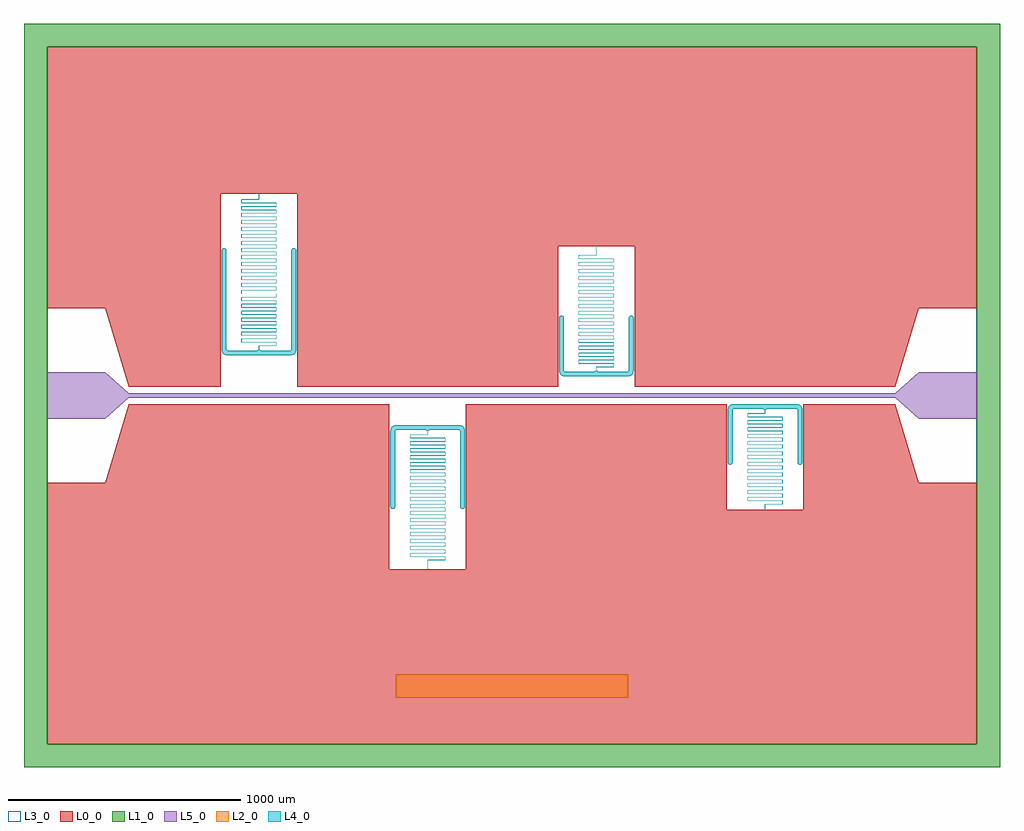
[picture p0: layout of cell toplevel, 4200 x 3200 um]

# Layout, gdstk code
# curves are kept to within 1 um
import gdstk
lib = gdstk.Library(unit=1e-6, precision=1e-09)
def R(c, l, rs):  # rectangles x0, y0, x1, y1
    for r in rs: c.add(gdstk.rectangle(r[:2], r[2:], *l))
def P(c, l, *ps):  # polygons
    for p in ps: c.add(gdstk.Polygon(p, *l))
L0_0 = (0, 0)
L1_0 = (1, 0)
L2_0 = (2, 0)
L3_0 = (3, 0)
L4_0 = (4, 0)
L5_0 = (5, 0)

toplevel = lib.new_cell('toplevel')
P(toplevel, L0_0, [(-924,868.5),(-924,37.5),(198,37.5),(198,642.833),(528,642.833),(528,37.5),(1650,37.5),(1750,375),(2000,375),(2000,1500),(-2000,1500),(-2000,375),(-1750,375),(-1650,37.5),(-1254,37.5),(-1254,868.5)],
  [(2000,-1500),(2000,-375),(1750,-375),(1650,-37.5),(1254,-37.5),(1254,-492.5),(924,-492.5),(924,-37.5),(-198,-37.5),(-198,-748.167),(-528,-748.167),(-528,-37.5),(-1650,-37.5),(-1750,-375),(-2000,-375),(-2000,-1500)])
P(toplevel, L1_0, [(2100,1600),(-2100,1600),(-2100,-1500),(-2000,-1500),(-2000,1500),(2000,1500),(2000,-1500),(-2000,-1500),(-2100,-1500),(-2100,-1600),(2100,-1600)])
R(toplevel, L2_0, [(-500,-1300,500,-1200)])
R(toplevel, L3_0, [(-2000,-1500,2000,1500)])
P(toplevel, L4_0, [(-957.256,173.5),(-946.018,174.652),(-937.664,178.765),(-931.925,185.852),(-929.25,195.469),(-929,438.861),(-949,438.861),(-949.028,199.36),(-950.06,194.461),(-956.931,193.5),(-1079,193.5),(-1088.7,198.5),(-1088.291,213.175),(-1014.361,213.305),(-1013.703,214.388),(-1013.702,227.589),(-1014.584,228.762),(-1163.666,229.171),(-1163.696,242.609),(-1163.132,243.195),(-1013.928,243.636),(-1013.704,257.63),(-1014.73,258.785),(-1162.888,258.8),(-1163.7,259.606),(-1163.176,273.191),(-1013.961,273.594),(-1013.707,287.683),(-1014.755,288.787),(-1162.94,288.8),(-1163.7,289.591),(-1163.184,303.19),(-1014.035,303.513),(-1013.707,317.683),(-1014.755,318.787),(-1162.94,318.8),(-1163.7,319.591),(-1163.184,333.19),(-1014.118,333.442),(-1013.707,347.683),(-1014.755,348.787),(-1162.935,348.8),(-1163.7,349.591),(-1163.184,363.19),(-1014.211,363.379),(-1013.702,377.56),(-1014.755,378.787),(-1162.935,378.8),(-1163.699,379.48),(-1163.184,393.19),(-1014.407,393.287),(-1013.706,394.346),(-1013.702,407.56),(-1014.755,408.787),(-1162.935,408.8),(-1163.699,409.476),(-1163.184,423.19),(-1014.571,423.241),(-1013.706,424.34),(-1013.702,437.56),(-1015.111,438.8),(-1164.195,438.861),(-1162.964,438.2),(-1014.428,438.03),(-1014.798,423.812),(-1162.888,423.8),(-1163.959,423.492),(-1164.3,422.404),(-1164.287,409.249),(-1163.251,408.213),(-1014.458,408.061),(-1014.798,393.812),(-1162.888,393.8),(-1163.959,393.492),(-1164.3,392.404),(-1164.295,379.352),(-1163.251,378.213),(-1014.535,378.115),(-1014.798,363.812),(-1162.888,363.8),(-1163.959,363.492),(-1164.3,362.404),(-1164.289,349.274),(-1163.251,348.213),(-1014.686,348.17),(-1014.605,333.854),(-1163.245,333.787),(-1164.292,332.683),(-1164.3,319.59),(-1162.97,318.2),(-1014.815,318.19),(-1014.466,303.932),(-1163.245,303.787),(-1164.292,302.683),(-1164.3,289.59),(-1162.97,288.2),(-1014.815,288.19),(-1014.433,273.964),(-1163.251,273.787),(-1164.294,272.666),(-1164.3,259.596),(-1163.987,258.535),(-1162.888,258.2),(-1014.85,258.193),(-1014.303,257.595),(-1014.3,244.612),(-1015.112,243.8),(-1163.238,243.788),(-1164.294,242.653),(-1164.3,229.611),(-1163.982,228.53),(-1162.888,228.2),(-1014.811,228.19),(-1014.45,213.946),(-1088.481,213.746),(-1089.296,212.612),(-1089.3,198.5),(-1099,193.5),(-1221.878,193.504),(-1227.976,194.489),(-1228.998,200.94),(-1229,438.861),(-1249,438.861),(-1248.965,198.829),(-1246.945,187.792),(-1244.619,183.373),(-1241.507,179.761),(-1233.471,175.103),(-1223.255,173.524)],
  [(-1163.433,438.869),(-1163.631,439.067),(-1163.699,439.471),(-1163.698,452.567),(-1163.572,453.03),(-1163.184,453.19),(-1015.036,453.2),(-1014.526,453.252),(-1014.142,453.424),(-1013.875,453.718),(-1013.73,454.129),(-1013.707,467.677),(-1013.797,468.119),(-1014.007,468.459),(-1014.328,468.681),(-1014.755,468.787),(-1162.935,468.8),(-1163.476,468.891),(-1163.678,469.229),(-1163.698,482.567),(-1163.572,483.03),(-1163.184,483.19),(-1015.036,483.2),(-1014.532,483.25),(-1014.148,483.42),(-1013.883,483.705),(-1013.733,484.11),(-1013.707,497.677),(-1013.797,498.119),(-1014.007,498.459),(-1014.328,498.681),(-1014.755,498.787),(-1162.935,498.8),(-1163.471,498.888),(-1163.675,499.213),(-1163.698,512.567),(-1163.572,513.03),(-1163.184,513.19),(-1015.036,513.2),(-1014.532,513.25),(-1014.155,513.415),(-1013.887,513.699),(-1013.737,514.091),(-1013.707,527.678),(-1013.797,528.119),(-1014.007,528.459),(-1014.328,528.681),(-1014.755,528.787),(-1162.935,528.8),(-1163.468,528.887),(-1163.673,529.202),(-1163.698,542.567),(-1163.572,543.03),(-1163.18,543.191),(-1015.041,543.2),(-1014.545,543.247),(-1014.167,543.407),(-1013.898,543.68),(-1013.743,544.065),(-1013.707,557.678),(-1013.797,558.119),(-1014.007,558.459),(-1014.328,558.681),(-1014.755,558.787),(-1162.93,558.8),(-1163.46,558.882),(-1163.67,559.186),(-1163.698,572.567),(-1163.572,573.03),(-1163.18,573.191),(-1015.041,573.2),(-1014.552,573.245),(-1014.18,573.398),(-1013.907,573.667),(-1013.749,574.039),(-1013.707,587.678),(-1013.797,588.119),(-1014.007,588.459),(-1014.328,588.681),(-1014.755,588.787),(-1162.93,588.8),(-1163.454,588.879),(-1163.665,589.168),(-1163.698,602.567),(-1163.572,603.03),(-1163.18,603.191),(-1015.041,603.2),(-1014.558,603.244),(-1014.192,603.39),(-1013.92,603.648),(-1013.757,604.006),(-1013.707,617.672),(-1013.795,618.112),(-1014.002,618.453),(-1014.328,618.681),(-1014.755,618.787),(-1162.93,618.8),(-1163.445,618.875),(-1163.66,619.15),(-1163.698,632.563),(-1163.572,633.03),(-1163.18,633.191),(-1015.041,633.2),(-1014.205,633.383),(-1013.937,633.624),(-1013.768,633.967),(-1013.7,634.547),(-1013.707,647.672),(-1013.795,648.112),(-1014.002,648.453),(-1014.328,648.681),(-1014.755,648.787),(-1162.93,648.8),(-1163.436,648.871),(-1163.654,649.129),(-1163.698,662.563),(-1163.572,663.03),(-1163.18,663.191),(-1015.047,663.2),(-1014.231,663.368),(-1013.961,663.593),(-1013.783,663.921),(-1013.7,664.541),(-1013.707,677.672),(-1013.795,678.112),(-1014.002,678.453),(-1014.328,678.681),(-1014.755,678.787),(-1162.925,678.8),(-1163.421,678.864),(-1163.645,679.102),(-1163.698,692.563),(-1163.572,693.03),(-1163.18,693.191),(-1015.047,693.2),(-1014.25,693.357),(-1013.981,693.57),(-1013.802,693.868),(-1013.7,694.53),(-1013.706,707.665),(-1013.795,708.112),(-1014.002,708.453),(-1014.328,708.681),(-1014.755,708.787),(-1162.925,708.8),(-1163.405,708.858),(-1163.633,709.073),(-1163.7,709.55),(-1163.698,722.558),(-1163.574,723.028),(-1163.18,723.191),(-1015.052,723.2),(-1014.283,723.34),(-1013.831,723.802),(-1013.7,724.519),(-1013.706,737.659),(-1013.795,738.112),(-1014.002,738.453),(-1014.328,738.681),(-1014.755,738.787),(-1162.92,738.8),(-1163.385,738.85),(-1163.618,739.04),(-1163.7,739.54),(-1163.698,752.558),(-1163.574,753.028),(-1163.18,753.191),(-1015.058,753.2),(-1014.328,753.319),(-1013.871,753.724),(-1013.7,754.503),(-1013.706,767.653),(-1013.792,768.106),(-1014.002,768.453),(-1014.328,768.681),(-1014.755,768.787),(-1162.92,768.8),(-1163.361,768.843),(-1163.596,769.003),(-1163.7,769.53),(-1163.698,782.553),(-1163.574,783.028),(-1163.18,783.191),(-1015.063,783.2),(-1014.388,783.295),(-1013.937,783.624),(-1013.76,783.993),(-1013.701,784.48),(-1013.705,797.642),(-1013.79,798.099),(-1013.997,798.448),(-1014.322,798.678),(-1014.749,798.787),(-1162.914,798.8),(-1163.328,798.834),(-1163.565,798.962),(-1163.7,799.52),(-1163.699,812.544),(-1163.575,813.025),(-1163.18,813.191),(-1015.074,813.2),(-1014.473,813.266),(-1014.047,813.502),(-1013.79,813.901),(-1013.701,814.452),(-1013.704,827.618),(-1013.785,828.086),(-1013.991,828.442),(-1014.315,828.675),(-1014.749,828.787),(-1162.909,828.8),(-1163.514,828.916),(-1163.654,829.129),(-1163.699,829.5),(-1163.699,842.505),(-1163.602,842.987),(-1163.287,843.175),(-1090.069,843.2),(-1089.257,843.354),(-1088.843,843.776),(-1088.701,844.457),(-1088.7,868.5),(-1089.3,868.5),(-1089.3,844.52),(-1089.355,844.102),(-1089.535,843.885),(-1090.08,843.8),(-1163.416,843.761),(-1163.795,843.617),(-1164.067,843.37),(-1164.236,843.02),(-1164.298,842.571),(-1164.298,829.429),(-1164.184,828.835),(-1163.864,828.428),(-1163.461,828.249),(-1162.92,828.2),(-1014.82,828.191),(-1014.425,828.025),(-1014.301,827.539),(-1014.3,814.51),(-1014.456,813.941),(-1015.091,813.8),(-1163.251,813.787),(-1163.685,813.675),(-1164.008,813.442),(-1164.213,813.092),(-1164.296,812.63),(-1164.299,799.463),(-1164.226,798.947),(-1164.014,798.564),(-1163.573,798.281),(-1162.931,798.2),(-1014.82,798.191),(-1014.425,798.025),(-1014.302,797.548),(-1014.3,784.525),(-1014.418,783.984),(-1014.653,783.839),(-1015.086,783.8),(-1163.245,783.787),(-1163.678,783.678),(-1164.003,783.448),(-1164.21,783.099),(-1164.295,782.648),(-1164.299,769.491),(-1164.25,769.032),(-1164.097,768.673),(-1163.645,768.308),(-1162.937,768.2),(-1014.82,768.191),(-1014.426,768.028),(-1014.302,767.553),(-1014.3,754.54),(-1014.391,754.024),(-1014.625,753.847),(-1015.08,753.8),(-1163.245,753.787),(-1163.671,753.681),(-1163.998,753.453),(-1164.205,753.112),(-1164.294,752.659),(-1164.3,739.508),(-1164.15,738.763),(-1163.698,738.331),(-1162.948,738.2),(-1014.82,738.191),(-1014.426,738.028),(-1014.302,737.558),(-1014.3,724.545),(-1014.373,724.058),(-1014.602,723.855),(-1015.075,723.8),(-1163.245,723.787),(-1163.671,723.681),(-1163.998,723.453),(-1164.205,723.112),(-1164.294,722.665),(-1164.3,709.525),(-1164.184,708.835),(-1163.73,708.347),(-1162.948,708.2),(-1014.82,708.191),(-1014.426,708.028),(-1014.302,707.558),(-1014.36,694.089),(-1014.586,693.861),(-1015.075,693.8),(-1163.245,693.787),(-1163.671,693.681),(-1163.998,693.453),(-1164.205,693.112),(-1164.294,692.665),(-1164.3,679.536),(-1164.208,678.894),(-1164.029,678.582),(-1163.763,678.364),(-1162.953,678.2),(-1014.82,678.191),(-1014.428,678.03),(-1014.302,677.563),(-1014.35,664.115),(-1014.573,663.867),(-1015.075,663.8),(-1163.245,663.787),(-1163.671,663.681),(-1163.998,663.453),(-1164.205,663.112),(-1164.293,662.672),(-1164.3,649.547),(-1164.226,648.947),(-1164.053,648.612),(-1163.782,648.375),(-1162.953,648.2),(-1014.82,648.191),(-1014.428,648.03),(-1014.302,647.563),(-1014.343,634.139),(-1014.561,633.872),(-1015.07,633.8),(-1163.245,633.787),(-1163.671,633.681),(-1163.998,633.453),(-1164.205,633.112),(-1164.293,632.672),(-1164.238,618.987),(-1164.071,618.636),(-1163.801,618.387),(-1163.435,618.243),(-1162.959,618.2),(-1014.82,618.191),(-1014.428,618.03),(-1014.302,617.563),(-1014.337,604.16),(-1014.549,603.878),(-1015.07,603.8),(-1163.245,603.787),(-1163.671,603.681),(-1163.992,603.459),(-1164.203,603.119),(-1164.293,602.677),(-1164.246,589.019),(-1164.085,588.655),(-1163.814,588.394),(-1163.441,588.244),(-1162.959,588.2),(-1014.82,588.191),(-1014.428,588.03),(-1014.302,587.567),(-1014.332,574.179),(-1014.543,573.881),(-1015.07,573.8),(-1163.245,573.787),(-1163.671,573.681),(-1163.992,573.459),(-1164.203,573.119),(-1164.293,572.678),(-1164.254,559.052),(-1164.097,558.673),(-1163.827,558.403),(-1163.454,558.247),(-1162.959,558.2),(-1014.82,558.191),(-1014.428,558.03),(-1014.302,557.567),(-1014.329,544.194),(-1014.535,543.885),(-1015.065,543.8),(-1163.245,543.787),(-1163.671,543.681),(-1163.992,543.459),(-1164.203,543.119),(-1164.293,542.678),(-1164.26,529.078),(-1164.105,528.686),(-1163.839,528.411),(-1163.461,528.249),(-1162.964,528.2),(-1014.815,528.19),(-1014.428,528.03),(-1014.302,527.567),(-1014.325,514.209),(-1014.529,513.888),(-1015.065,513.8),(-1163.245,513.787),(-1163.671,513.681),(-1163.992,513.459),(-1164.203,513.119),(-1164.293,512.677),(-1164.264,499.097),(-1164.113,498.699),(-1163.845,498.415),(-1163.468,498.25),(-1162.964,498.2),(-1014.815,498.19),(-1014.428,498.03),(-1014.302,497.567),(-1014.323,484.221),(-1014.526,483.89),(-1015.065,483.8),(-1163.245,483.787),(-1163.671,483.681),(-1163.992,483.459),(-1164.203,483.119),(-1164.293,482.677),(-1164.269,469.123),(-1164.121,468.711),(-1163.852,468.42),(-1163.468,468.25),(-1162.964,468.2),(-1014.815,468.19),(-1014.428,468.03),(-1014.302,467.567),(-1014.321,454.233),(-1014.521,453.893),(-1015.065,453.8),(-1163.245,453.787),(-1163.717,453.66),(-1164.058,453.382),(-1164.25,452.968),(-1164.3,452.404),(-1164.294,439.334),(-1164.195,438.861)],
  [(-1229,623.5),(-1231.627,630.256),(-1238.564,633.49),(-1245.756,630.873),(-1248.962,624.372),(-1249,438.861),(-1229,438.861)],
  [(-929,623.5),(-931.627,630.256),(-938.564,633.49),(-945.756,630.873),(-948.962,624.372),(-949,438.861),(-929,438.861)],
  [(-512.564,-488.157),(-505.929,-485.238),(-503.038,-479.038),(-503,-348.778),(-523,-348.778),(-522.962,-479.038),(-519.428,-485.827)],
  [(-362.7,-709.216),(-362.561,-708.624),(-362.044,-708.468),(-288.584,-708.428),(-288.211,-708.288),(-287.937,-708.043),(-287.768,-707.7),(-287.702,-707.255),(-287.705,-694.031),(-287.898,-693.346),(-288.348,-692.977),(-289.074,-692.867),(-437.18,-692.857),(-437.575,-692.692),(-437.699,-692.21),(-437.7,-679.186),(-437.648,-678.778),(-437.494,-678.569),(-436.914,-678.467),(-288.749,-678.453),(-288.322,-678.345),(-287.997,-678.114),(-287.79,-677.766),(-287.705,-677.308),(-287.701,-664.147),(-287.792,-663.561),(-288.082,-663.138),(-288.532,-662.917),(-289.063,-662.867),(-437.18,-662.857),(-437.574,-662.694),(-437.698,-662.22),(-437.7,-649.196),(-437.554,-648.617),(-437.321,-648.499),(-436.92,-648.467),(-288.755,-648.454),(-288.328,-648.348),(-288.002,-648.12),(-287.792,-647.772),(-287.706,-647.32),(-287.7,-634.169),(-287.766,-633.64),(-287.961,-633.26),(-288.401,-632.956),(-289.058,-632.867),(-437.18,-632.857),(-437.574,-632.694),(-437.698,-632.225),(-437.7,-619.206),(-437.599,-618.675),(-437.343,-618.504),(-436.92,-618.467),(-288.755,-618.454),(-288.328,-618.348),(-288.002,-618.12),(-287.795,-617.779),(-287.706,-617.326),(-287.7,-604.186),(-287.871,-603.391),(-288.361,-602.972),(-289.052,-602.867),(-437.18,-602.857),(-437.574,-602.694),(-437.698,-602.225),(-437.7,-589.216),(-437.615,-588.701),(-437.361,-588.509),(-436.925,-588.467),(-288.755,-588.454),(-288.328,-588.348),(-288.002,-588.12),(-287.795,-587.779),(-287.706,-587.332),(-287.7,-574.197),(-287.837,-573.456),(-288.041,-573.174),(-288.328,-572.985),(-289.047,-572.867),(-437.18,-572.857),(-437.572,-572.696),(-437.698,-572.229),(-437.7,-559.221),(-437.626,-558.725),(-437.378,-558.515),(-436.925,-558.467),(-288.755,-558.454),(-288.328,-558.348),(-288.002,-558.12),(-287.795,-557.779),(-287.707,-557.338),(-287.7,-544.208),(-287.819,-543.495),(-288.018,-543.196),(-288.309,-542.994),(-289.047,-542.867),(-437.18,-542.857),(-437.572,-542.696),(-437.698,-542.229),(-437.7,-529.227),(-437.637,-528.749),(-437.392,-528.519),(-436.93,-528.467),(-288.755,-528.454),(-288.328,-528.348),(-288.002,-528.12),(-287.795,-527.779),(-287.707,-527.338),(-287.7,-514.214),(-287.8,-513.541),(-287.966,-513.254),(-288.244,-513.027),(-289.041,-512.867),(-437.18,-512.857),(-437.572,-512.696),(-437.698,-512.229),(-437.645,-498.768),(-437.398,-498.522),(-436.93,-498.467),(-288.755,-498.454),(-288.328,-498.348),(-288.002,-498.12),(-287.795,-497.779),(-287.707,-497.338),(-287.7,-484.224),(-287.772,-483.62),(-287.947,-483.278),(-288.192,-483.057),(-288.558,-482.911),(-289.041,-482.867),(-437.18,-482.857),(-437.572,-482.696),(-437.698,-482.234),(-437.665,-468.834),(-437.454,-468.546),(-436.93,-468.467),(-288.755,-468.454),(-288.328,-468.348),(-288.007,-468.126),(-287.797,-467.785),(-287.707,-467.344),(-287.7,-454.23),(-287.776,-453.607),(-287.937,-453.29),(-288.218,-453.042),(-289.041,-452.867),(-437.18,-452.857),(-437.572,-452.696),(-437.698,-452.234),(-437.67,-438.853),(-437.46,-438.549),(-436.93,-438.467),(-288.755,-438.454),(-288.328,-438.348),(-288.007,-438.126),(-287.797,-437.785),(-287.707,-437.344),(-287.755,-423.679),(-287.928,-423.303),(-288.205,-423.049),(-289.041,-422.867),(-437.18,-422.857),(-437.572,-422.696),(-437.698,-422.234),(-437.673,-408.868),(-437.468,-408.553),(-436.935,-408.467),(-288.755,-408.454),(-288.328,-408.348),(-288.007,-408.126),(-287.797,-407.785),(-287.707,-407.344),(-287.75,-393.699),(-287.915,-393.321),(-288.192,-393.057),(-288.584,-392.905),(-289.036,-392.867),(-437.184,-392.857),(-437.572,-392.696),(-437.698,-392.234),(-437.675,-378.88),(-437.471,-378.555),(-436.935,-378.467),(-288.755,-378.454),(-288.328,-378.348),(-288.007,-378.126),(-287.797,-377.785),(-287.707,-377.344),(-287.745,-363.719),(-287.911,-363.328),(-288.148,-363.086),(-288.532,-362.917),(-289.036,-362.867),(-437.184,-362.857),(-437.572,-362.696),(-437.698,-362.234),(-437.648,-348.778),(-438.267,-348.778),(-438.293,-362.344),(-438.203,-362.786),(-437.992,-363.126),(-437.671,-363.348),(-437.245,-363.454),(-289.065,-363.467),(-288.526,-363.556),(-288.323,-363.888),(-288.302,-377.234),(-288.428,-377.696),(-288.815,-377.857),(-436.964,-377.867),(-437.468,-377.917),(-437.845,-378.082),(-438.113,-378.365),(-438.264,-378.764),(-438.293,-392.344),(-438.203,-392.785),(-437.992,-393.126),(-437.671,-393.348),(-437.245,-393.454),(-289.065,-393.467),(-288.529,-393.555),(-288.325,-393.876),(-288.302,-407.234),(-288.428,-407.696),(-288.815,-407.857),(-436.964,-407.867),(-437.461,-407.915),(-437.839,-408.078),(-438.105,-408.353),(-438.26,-408.745),(-438.293,-422.344),(-438.203,-422.785),(-437.992,-423.126),(-437.671,-423.348),(-437.245,-423.454),(-289.065,-423.467),(-288.535,-423.552),(-288.329,-423.861),(-288.302,-437.234),(-288.428,-437.696),(-288.82,-437.857),(-436.959,-437.867),(-437.454,-437.914),(-437.827,-438.069),(-438.097,-438.34),(-438.241,-438.666),(-438.293,-452.344),(-438.203,-452.785),(-437.992,-453.126),(-437.671,-453.348),(-437.245,-453.454),(-289.07,-453.467),(-288.543,-453.547),(-288.347,-453.792),(-288.302,-467.234),(-288.428,-467.696),(-288.82,-467.857),(-436.959,-467.867),(-437.776,-468.038),(-438.058,-468.284),(-438.232,-468.634),(-438.3,-469.224),(-438.293,-482.344),(-438.203,-482.785),(-437.992,-483.126),(-437.671,-483.348),(-437.245,-483.454),(-289.07,-483.467),(-288.595,-483.524),(-288.353,-483.775),(-288.302,-497.229),(-288.428,-497.696),(-288.82,-497.857),(-436.959,-497.867),(-437.763,-498.031),(-438.044,-498.266),(-438.208,-498.561),(-438.3,-499.219),(-438.293,-512.338),(-438.205,-512.779),(-437.998,-513.12),(-437.671,-513.348),(-437.245,-513.454),(-289.07,-513.467),(-288.561,-513.539),(-288.359,-513.759),(-288.302,-527.229),(-288.428,-527.696),(-288.82,-527.857),(-436.953,-527.867),(-437.743,-528.02),(-438.024,-528.242),(-438.21,-528.568),(-438.3,-529.214),(-438.293,-542.338),(-438.205,-542.779),(-437.998,-543.12),(-437.671,-543.348),(-437.245,-543.454),(-289.075,-543.467),(-288.573,-543.533),(-288.368,-543.737),(-288.3,-544.227),(-288.302,-557.229),(-288.428,-557.696),(-288.82,-557.857),(-436.953,-557.867),(-437.685,-557.991),(-437.97,-558.185),(-438.172,-558.476),(-438.3,-559.203),(-438.294,-572.332),(-438.205,-572.779),(-437.998,-573.12),(-437.671,-573.348),(-437.245,-573.454),(-289.075,-573.467),(-288.586,-573.528),(-288.378,-573.716),(-288.3,-574.221),(-288.302,-587.225),(-288.426,-587.694),(-288.82,-587.857),(-436.948,-587.867),(-437.73,-588.013),(-438.146,-588.423),(-438.3,-589.192),(-438.294,-602.332),(-438.205,-602.779),(-437.998,-603.12),(-437.671,-603.348),(-437.245,-603.454),(-289.075,-603.467),(-288.643,-603.508),(-288.393,-603.688),(-288.3,-604.211),(-288.302,-617.225),(-288.426,-617.694),(-288.82,-617.857),(-436.948,-617.867),(-437.619,-617.964),(-438.062,-618.29),(-438.243,-618.673),(-438.3,-619.175),(-438.294,-632.326),(-438.205,-632.779),(-437.998,-633.12),(-437.671,-633.348),(-437.245,-633.454),(-289.08,-633.467),(-288.668,-633.501),(-288.433,-633.631),(-288.3,-634.206),(-288.302,-647.22),(-288.426,-647.694),(-288.82,-647.857),(-436.937,-647.867),(-437.494,-647.923),(-437.959,-648.174),(-438.222,-648.601),(-438.299,-649.158),(-438.295,-662.314),(-438.21,-662.766),(-438.003,-663.114),(-437.678,-663.345),(-437.245,-663.454),(-289.086,-663.467),(-288.486,-663.582),(-288.344,-663.802),(-288.3,-664.191),(-288.302,-677.215),(-288.425,-677.692),(-288.82,-677.857),(-436.931,-677.867),(-437.435,-677.909),(-437.82,-678.065),(-438.184,-678.502),(-438.299,-679.13),(-438.296,-692.296),(-438.213,-692.759),(-438.008,-693.109),(-437.685,-693.342),(-437.251,-693.453),(-288.589,-693.527),(-288.372,-693.727),(-288.3,-694.176),(-288.301,-707.181),(-288.399,-707.656),(-288.713,-707.842),(-361.942,-707.867),(-362.474,-707.918),(-362.864,-708.095),(-363.195,-708.528),(-363.3,-709.175),(-363.3,-748.167),(-362.7,-748.167)],
  [(-212.564,-488.157),(-205.929,-485.238),(-203.038,-479.038),(-203,-348.778),(-223,-348.778),(-222.962,-479.038),(-219.428,-485.827)],
  [(-203,-156.513),(-204.152,-145.185),(-208.37,-136.698),(-215.768,-130.887),(-225.791,-128.34),(-496.447,-128.176),(-505.052,-129.083),(-512.17,-131.933),(-516.621,-135.532),(-519.933,-140.241),(-522.02,-145.85),(-522.928,-152.533),(-523,-348.778),(-503,-348.778),(-502.962,-153.75),(-501.918,-149.111),(-495.152,-148.167),(-373,-148.167),(-363.3,-153.167),(-363.709,-167.841),(-437.639,-167.972),(-438.296,-169.055),(-438.297,-182.255),(-437.307,-183.447),(-288.334,-183.838),(-288.786,-197.854),(-436.888,-197.867),(-438.3,-199.273),(-438.291,-212.368),(-437.202,-213.458),(-288.456,-213.607),(-288.837,-227.859),(-436.888,-227.867),(-438.3,-229.268),(-438.294,-242.32),(-437.245,-243.454),(-288.532,-243.553),(-288.815,-257.857),(-436.888,-257.867),(-438.3,-259.267),(-438.296,-272.29),(-437.269,-273.451),(-288.694,-273.495),(-288.595,-287.809),(-437.269,-287.882),(-438.294,-289.007),(-438.3,-302.071),(-436.888,-303.467),(-288.798,-303.478),(-288.493,-317.756),(-437.245,-317.879),(-438.294,-319.001),(-438.3,-332.071),(-436.888,-333.467),(-288.803,-333.478),(-288.428,-347.696),(-436.964,-347.867),(-438.267,-348.778),(-289.111,-348.467),(-287.7,-347.071),(-287.707,-333.995),(-288.755,-332.879),(-437.572,-332.696),(-437.197,-318.478),(-289.111,-318.467),(-287.7,-317.071),(-287.706,-304.007),(-288.749,-302.88),(-437.542,-302.728),(-437.202,-288.478),(-288.997,-288.466),(-287.7,-287.045),(-287.708,-273.977),(-288.762,-272.879),(-437.457,-272.786),(-437.18,-258.476),(-289.058,-258.467),(-287.7,-257.17),(-287.705,-244.019),(-288.755,-242.879),(-437.267,-242.846),(-437.421,-228.531),(-288.78,-228.456),(-287.707,-227.344),(-287.7,-214.273),(-289.111,-212.867),(-437.15,-212.86),(-437.509,-198.579),(-288.762,-198.454),(-287.706,-197.32),(-287.7,-184.278),(-289.111,-182.867),(-437.189,-182.856),(-437.55,-168.613),(-363.519,-168.413),(-362.704,-167.279),(-362.7,-153.167),(-353,-148.167),(-230.36,-148.169),(-224.108,-149.093),(-223.001,-155.768),(-223,-348.778),(-203,-348.778)],
  [(494.744,82.833),(505.449,83.846),(513.803,87.692),(519.634,94.353),(522.568,103.343),(523,273.55),(503,273.55),(502.944,108.017),(501.862,103.74),(494.901,102.833),(373,102.833),(363.3,107.833),(363.709,122.508),(437.639,122.638),(438.296,123.721),(438.3,136.727),(437.416,138.095),(288.35,138.448),(288.786,152.52),(436.888,152.533),(438.3,153.94),(438.291,167.035),(437.276,168.117),(288.491,168.246),(288.837,182.526),(436.888,182.533),(438.3,183.934),(438.294,196.987),(437.245,198.121),(288.579,198.197),(288.717,212.509),(437.245,212.546),(438.294,213.68),(438.3,226.831),(436.942,228.133),(288.82,228.143),(288.532,242.447),(437.245,242.546),(438.294,243.674),(438.3,256.814),(436.948,258.133),(288.82,258.143),(288.45,272.387),(436.888,272.533),(438.283,273.55),(289.052,273.133),(287.7,271.808),(287.706,258.668),(288.755,257.546),(437.542,257.394),(437.18,243.143),(289.052,243.133),(287.7,241.819),(287.706,228.674),(288.755,227.546),(437.521,227.412),(437.18,213.143),(289.058,213.133),(287.7,211.836),(287.705,198.686),(288.755,197.546),(437.46,197.451),(437.18,183.143),(289.069,183.133),(287.701,181.864),(287.705,168.698),(288.749,167.547),(437.239,167.517),(437.421,153.197),(288.762,153.121),(287.706,151.987),(287.7,138.945),(289.111,137.533),(437.189,137.523),(437.519,123.253),(363.519,123.08),(362.704,121.945),(362.7,107.833),(353,102.833),(230.201,102.837),(224.211,103.695),(223.004,109.955),(223,273.55),(203,273.55),(203.095,106.759),(204.046,100.252),(206.067,94.907),(209.145,90.454),(213.281,86.943),(220.551,83.846),(229.454,82.844)],
  [(438.294,273.668),(438.294,286.999),(438.2,287.459),(437.987,287.798),(437.671,288.015),(437.202,288.124),(289.112,288.133),(288.535,288.218),(288.324,288.55),(288.303,301.924),(288.439,302.375),(288.837,302.526),(436.888,302.533),(437.422,302.573),(437.808,302.724),(438.089,302.994),(438.263,303.424),(438.295,316.981),(438.203,317.452),(437.987,317.798),(437.691,318.006),(437.208,318.124),(289.112,318.133),(288.535,318.218),(288.324,318.55),(288.302,331.91),(288.43,332.365),(288.833,332.525),(436.888,332.533),(437.422,332.573),(437.808,332.724),(438.089,332.994),(438.263,333.424),(438.291,347.035),(438.203,347.452),(437.976,347.809),(437.625,348.034),(437.22,348.123),(289.112,348.133),(288.538,348.217),(288.325,348.543),(288.301,361.853),(288.414,362.345),(288.807,362.523),(436.959,362.533),(437.441,362.577),(437.808,362.724),(438.08,362.982),(438.243,363.34),(438.293,377.005),(438.205,377.446),(437.998,377.787),(437.671,378.015),(437.245,378.121),(289.07,378.133),(288.549,378.211),(288.337,378.494),(288.302,391.896),(288.428,392.363),(288.82,392.524),(436.959,392.533),(437.435,392.576),(437.801,392.72),(438.071,392.969),(438.238,393.32),(438.293,407.005),(438.205,407.446),(437.998,407.787),(437.671,408.015),(437.245,408.121),(289.07,408.133),(288.561,408.205),(288.343,408.472),(288.302,421.896),(288.428,422.363),(288.82,422.524),(436.953,422.533),(437.782,422.708),(438.053,422.945),(438.226,423.28),(438.3,423.88),(438.293,437.005),(438.205,437.446),(437.998,437.787),(437.671,438.015),(437.245,438.121),(289.075,438.133),(288.573,438.2),(288.35,438.448),(288.302,451.896),(288.428,452.363),(288.82,452.524),(436.953,452.533),(437.763,452.697),(438.029,452.915),(438.208,453.228),(438.3,453.869),(438.294,466.999),(438.205,467.446),(437.998,467.787),(437.671,468.015),(437.245,468.121),(289.075,468.133),(288.586,468.195),(288.36,468.422),(288.302,481.891),(288.426,482.361),(288.82,482.524),(436.948,482.533),(437.73,482.68),(438.184,483.168),(438.3,483.858),(438.294,496.999),(438.205,497.446),(437.998,497.787),(437.671,498.015),(437.245,498.121),(289.075,498.133),(288.602,498.188),(288.373,498.391),(288.3,498.878),(288.302,511.891),(288.426,512.361),(288.82,512.524),(436.948,512.533),(437.698,512.664),(438.15,513.096),(438.3,513.842),(438.294,526.993),(438.205,527.446),(437.998,527.787),(437.671,528.015),(437.245,528.121),(289.08,528.133),(288.625,528.18),(288.391,528.357),(288.3,528.873),(288.302,541.886),(288.426,542.361),(288.82,542.524),(436.937,542.533),(437.645,542.641),(438.097,543.007),(438.25,543.366),(438.299,543.825),(438.295,556.981),(438.21,557.432),(438.003,557.781),(437.678,558.012),(437.245,558.121),(289.086,558.133),(288.653,558.172),(288.418,558.317),(288.3,558.858),(288.302,571.882),(288.425,572.359),(288.82,572.524),(436.931,572.533),(437.573,572.614),(438.014,572.897),(438.226,573.28),(438.299,573.796),(438.296,586.963),(438.213,587.426),(438.008,587.775),(437.685,588.009),(437.251,588.12),(289.091,588.133),(288.456,588.274),(288.3,588.843),(288.301,601.848),(288.399,602.323),(288.713,602.509),(361.942,602.533),(362.474,602.585),(362.864,602.762),(363.195,603.195),(363.3,603.842),(363.3,642.833),(362.7,642.833),(362.7,603.883),(362.658,603.476),(362.514,603.249),(361.925,603.133),(288.584,603.095),(288.211,602.954),(287.937,602.71),(287.768,602.366),(287.702,601.922),(287.702,588.779),(287.792,588.228),(288.047,587.835),(288.473,587.599),(289.074,587.533),(437.18,587.524),(437.575,587.359),(437.699,586.877),(437.7,573.853),(437.565,573.295),(437.328,573.167),(436.914,573.133),(288.749,573.12),(288.322,573.012),(287.997,572.781),(287.79,572.432),(287.705,571.975),(287.701,558.813),(287.76,558.326),(287.937,557.957),(288.388,557.628),(289.063,557.533),(437.18,557.524),(437.574,557.361),(437.698,556.886),(437.7,543.863),(437.596,543.336),(437.361,543.176),(436.92,543.133),(288.755,543.121),(288.328,543.015),(288.002,542.787),(287.792,542.439),(287.706,541.987),(287.7,528.836),(287.871,528.058),(288.328,527.652),(289.058,527.533),(437.18,527.524),(437.574,527.361),(437.698,526.891),(437.7,513.873),(437.618,513.374),(437.385,513.184),(436.92,513.133),(288.755,513.121),(288.328,513.015),(288.002,512.787),(287.795,512.446),(287.706,511.993),(287.7,498.853),(287.831,498.136),(288.283,497.673),(289.052,497.533),(437.18,497.524),(437.574,497.361),(437.698,496.891),(437.7,483.883),(437.633,483.406),(437.405,483.191),(436.925,483.133),(288.755,483.121),(288.328,483.015),(288.002,482.787),(287.795,482.446),(287.706,481.999),(287.7,468.864),(287.802,468.201),(287.981,467.903),(288.25,467.69),(289.047,467.533),(437.18,467.524),(437.572,467.363),(437.698,466.896),(437.645,453.435),(437.421,453.197),(436.925,453.133),(288.755,453.121),(288.328,453.015),(288.002,452.787),(287.795,452.446),(287.707,452.005),(287.7,438.875),(287.783,438.254),(287.961,437.927),(288.231,437.701),(289.047,437.533),(437.18,437.524),(437.572,437.363),(437.698,436.896),(437.654,423.462),(437.436,423.204),(436.93,423.133),(288.755,423.121),(288.328,423.015),(288.002,422.787),(287.795,422.446),(287.707,422.005),(287.7,408.88),(287.768,408.3),(287.937,407.957),(288.205,407.716),(289.041,407.533),(437.18,407.524),(437.572,407.363),(437.698,406.896),(437.66,393.483),(437.445,393.208),(436.93,393.133),(288.755,393.121),(288.328,393.015),(288.002,392.787),(287.795,392.446),(287.707,392.005),(287.757,378.34),(287.92,377.982),(288.192,377.724),(288.558,377.577),(289.041,377.533),(437.18,377.524),(437.572,377.363),(437.698,376.896),(437.663,363.494),(437.451,363.211),(436.93,363.133),(288.755,363.121),(288.355,363.026),(287.997,362.781),(287.802,362.465),(287.706,361.999),(287.753,348.353),(287.924,347.976),(288.199,347.72),(288.584,347.572),(289.111,347.533),(437.171,347.525),(437.575,347.359),(437.698,346.905),(437.676,333.55),(437.465,333.218),(436.888,333.133),(288.786,333.123),(288.381,333.036),(288.029,332.815),(287.805,332.472),(287.71,332.047),(287.737,318.424),(287.911,317.994),(288.192,317.724),(288.578,317.573),(289.111,317.533),(437.167,317.525),(437.565,317.371),(437.697,316.919),(437.676,303.55),(437.465,303.218),(436.888,303.133),(288.792,303.124),(288.315,303.009),(288.024,302.809),(287.822,302.511),(287.712,302.072),(287.736,288.431),(287.911,287.994),(288.192,287.724),(288.578,287.573),(289.111,287.533),(437.158,287.526),(437.555,287.381),(437.697,286.929),(437.676,273.55),(438.283,273.55)],
  [(223,332.833),(220.373,339.589),(214.305,342.748),(207.627,341.267),(203.463,335.84),(203,273.55),(223,273.55)],
  [(523,332.833),(520.373,339.589),(514.305,342.748),(507.627,341.267),(503.463,335.84),(503,273.55),(523,273.55)],
  [(939.436,-297.49),(945.756,-294.873),(948.962,-288.372),(949,-182.932),(929,-182.932),(929.038,-288.372),(932.244,-294.873)],
  [(1089.3,-468.52),(1089.45,-467.946),(1089.976,-467.801),(1163.468,-467.75),(1163.87,-467.567),(1164.121,-467.288),(1164.26,-466.922),(1164.3,-466.388),(1164.294,-453.34),(1164.085,-452.655),(1163.625,-452.3),(1162.92,-452.2),(1014.82,-452.191),(1014.425,-452.025),(1014.301,-451.539),(1014.3,-438.51),(1014.359,-438.092),(1014.503,-437.904),(1015.091,-437.8),(1163.251,-437.787),(1163.685,-437.675),(1164.008,-437.442),(1164.213,-437.092),(1164.296,-436.63),(1164.299,-423.463),(1164.184,-422.835),(1163.876,-422.437),(1163.507,-422.26),(1162.931,-422.2),(1014.82,-422.191),(1014.425,-422.025),(1014.302,-421.548),(1014.3,-408.525),(1014.437,-407.96),(1014.653,-407.839),(1015.086,-407.8),(1163.245,-407.787),(1163.678,-407.678),(1164.003,-407.448),(1164.21,-407.099),(1164.295,-406.647),(1164.299,-393.491),(1164.236,-392.98),(1164.053,-392.612),(1163.573,-392.281),(1162.937,-392.2),(1014.82,-392.191),(1014.426,-392.027),(1014.302,-391.553),(1014.3,-378.54),(1014.411,-377.993),(1014.625,-377.847),(1015.08,-377.8),(1163.245,-377.787),(1163.671,-377.681),(1163.998,-377.453),(1164.205,-377.112),(1164.294,-376.659),(1164.3,-363.508),(1164.11,-362.692),(1163.619,-362.297),(1162.948,-362.2),(1014.82,-362.191),(1014.426,-362.027),(1014.302,-361.558),(1014.3,-348.545),(1014.393,-348.021),(1014.602,-347.855),(1015.075,-347.8),(1163.245,-347.787),(1163.671,-347.681),(1163.998,-347.453),(1164.205,-347.112),(1164.294,-346.665),(1164.3,-333.525),(1164.146,-332.757),(1163.942,-332.491),(1163.652,-332.31),(1162.948,-332.2),(1014.82,-332.191),(1014.426,-332.027),(1014.302,-331.558),(1014.3,-318.555),(1014.378,-318.049),(1014.586,-317.861),(1015.075,-317.8),(1163.245,-317.787),(1163.671,-317.681),(1163.998,-317.453),(1164.205,-317.112),(1164.294,-316.666),(1164.3,-303.536),(1164.208,-302.894),(1164.029,-302.582),(1163.763,-302.364),(1162.953,-302.2),(1014.82,-302.191),(1014.428,-302.03),(1014.302,-301.563),(1014.35,-288.115),(1014.573,-287.867),(1015.075,-287.8),(1163.245,-287.787),(1163.671,-287.681),(1163.998,-287.453),(1164.205,-287.112),(1164.293,-286.671),(1164.3,-273.547),(1164.21,-272.901),(1164.024,-272.576),(1163.743,-272.353),(1162.953,-272.2),(1014.82,-272.191),(1014.428,-272.03),(1014.302,-271.563),(1014.343,-258.139),(1014.561,-257.872),(1015.07,-257.8),(1163.245,-257.787),(1163.671,-257.681),(1163.998,-257.453),(1164.205,-257.112),(1164.293,-256.671),(1164.238,-242.987),(1164.071,-242.636),(1163.801,-242.387),(1163.435,-242.243),(1162.959,-242.2),(1014.82,-242.191),(1014.428,-242.03),(1014.302,-241.563),(1014.337,-228.16),(1014.549,-227.878),(1015.07,-227.8),(1163.245,-227.787),(1163.671,-227.681),(1163.992,-227.459),(1164.203,-227.119),(1164.293,-226.677),(1164.3,-213.558),(1164.232,-212.967),(1164.058,-212.618),(1163.776,-212.371),(1162.959,-212.2),(1014.82,-212.191),(1014.428,-212.03),(1014.302,-211.567),(1014.332,-198.179),(1014.543,-197.881),(1015.07,-197.8),(1163.245,-197.787),(1163.671,-197.681),(1163.992,-197.459),(1164.203,-197.119),(1164.293,-196.678),(1164.3,-183.563),(1164.221,-182.932),(1163.534,-182.932),(1163.67,-183.186),(1163.7,-183.575),(1163.698,-196.567),(1163.572,-197.03),(1163.18,-197.191),(1015.041,-197.2),(1014.552,-197.245),(1014.18,-197.398),(1013.907,-197.667),(1013.749,-198.039),(1013.707,-211.677),(1013.797,-212.119),(1014.007,-212.459),(1014.328,-212.681),(1014.755,-212.787),(1162.93,-212.8),(1163.454,-212.879),(1163.665,-213.168),(1163.698,-226.567),(1163.572,-227.03),(1163.18,-227.191),(1015.041,-227.2),(1014.558,-227.244),(1014.192,-227.39),(1013.92,-227.648),(1013.772,-227.954),(1013.7,-228.558),(1013.707,-241.671),(1013.795,-242.112),(1014.002,-242.453),(1014.328,-242.681),(1014.755,-242.787),(1162.93,-242.8),(1163.398,-242.855),(1163.645,-243.102),(1163.698,-256.563),(1163.572,-257.03),(1163.18,-257.191),(1015.041,-257.2),(1014.205,-257.383),(1013.937,-257.624),(1013.768,-257.967),(1013.7,-258.547),(1013.707,-271.671),(1013.795,-272.112),(1014.002,-272.453),(1014.328,-272.681),(1014.755,-272.787),(1162.93,-272.8),(1163.436,-272.871),(1163.654,-273.129),(1163.698,-286.563),(1163.572,-287.03),(1163.18,-287.191),(1015.047,-287.2),(1014.231,-287.368),(1013.8,-287.875),(1013.7,-288.541),(1013.707,-301.671),(1013.795,-302.112),(1014.002,-302.453),(1014.328,-302.681),(1014.755,-302.787),(1162.925,-302.8),(1163.421,-302.864),(1163.645,-303.102),(1163.698,-316.563),(1163.572,-317.03),(1163.18,-317.191),(1015.047,-317.2),(1014.328,-317.319),(1014.041,-317.507),(1013.837,-317.789),(1013.7,-318.53),(1013.706,-331.666),(1013.795,-332.112),(1014.002,-332.453),(1014.328,-332.681),(1014.755,-332.787),(1162.925,-332.8),(1163.361,-332.843),(1163.615,-333.035),(1163.7,-333.55),(1163.698,-346.558),(1163.574,-347.027),(1163.18,-347.191),(1015.052,-347.2),(1014.361,-347.305),(1013.871,-347.724),(1013.7,-348.519),(1013.706,-361.659),(1013.795,-362.112),(1014.002,-362.453),(1014.328,-362.681),(1014.755,-362.787),(1162.92,-362.8),(1163.385,-362.85),(1163.599,-363.008),(1163.7,-363.54),(1163.698,-376.558),(1163.574,-377.027),(1163.18,-377.191),(1015.058,-377.2),(1014.328,-377.319),(1013.915,-377.655),(1013.766,-377.973),(1013.7,-378.503),(1013.706,-391.653),(1013.792,-392.106),(1014.002,-392.453),(1014.328,-392.681),(1014.755,-392.787),(1162.92,-392.8),(1163.321,-392.832),(1163.575,-392.975),(1163.7,-393.53),(1163.698,-406.553),(1163.574,-407.027),(1163.18,-407.191),(1015.063,-407.2),(1014.46,-407.27),(1014.029,-407.518),(1013.776,-407.94),(1013.701,-408.48),(1013.705,-421.642),(1013.79,-422.099),(1013.997,-422.448),(1014.322,-422.678),(1014.749,-422.787),(1162.914,-422.8),(1163.521,-422.921),(1163.648,-423.112),(1163.7,-423.52),(1163.699,-436.544),(1163.575,-437.025),(1163.18,-437.191),(1015.074,-437.2),(1014.532,-437.25),(1014.186,-437.394),(1013.84,-437.783),(1013.701,-438.452),(1013.704,-451.618),(1013.785,-452.086),(1013.991,-452.442),(1014.315,-452.675),(1014.749,-452.787),(1163.411,-452.86),(1163.628,-453.061),(1163.699,-453.5),(1163.699,-466.505),(1163.602,-466.987),(1163.287,-467.175),(1090.069,-467.2),(1089.257,-467.353),(1088.843,-467.776),(1088.701,-468.457),(1088.7,-492.5),(1089.3,-492.5)],
  [(1239.436,-297.49),(1245.756,-294.873),(1248.962,-288.372),(1249,-182.932),(1229,-182.932),(1229.038,-288.372),(1232.244,-294.873)],
  [(1249,-65.846),(1247.848,-54.518),(1243.63,-46.032),(1236.232,-40.22),(1226.558,-37.704),(956.042,-37.504),(943.844,-39.344),(938.063,-42.458),(933.76,-46.832),(930.794,-52.481),(929.25,-59.469),(929,-182.932),(949,-182.932),(949.071,-62.427),(950.161,-58.392),(956.931,-57.5),(1079,-57.5),(1088.7,-62.5),(1088.291,-77.175),(1014.361,-77.305),(1013.702,-91.589),(1014.693,-92.78),(1163.629,-93.064),(1163.189,-107.19),(1014.186,-107.394),(1013.702,-121.565),(1014.761,-122.788),(1163.699,-123.461),(1163.184,-137.19),(1014.375,-137.3),(1013.702,-151.56),(1014.755,-152.787),(1162.935,-152.8),(1163.7,-153.575),(1163.18,-167.191),(1014.597,-167.236),(1013.702,-168.411),(1013.702,-181.56),(1015.111,-182.8),(1164.221,-182.932),(1162.959,-182.2),(1014.535,-182.115),(1014.811,-167.81),(1162.888,-167.8),(1164.3,-166.404),(1164.291,-153.298),(1163.238,-152.212),(1014.686,-152.17),(1014.576,-137.865),(1163.245,-137.787),(1164.293,-136.678),(1164.3,-123.574),(1162.964,-122.2),(1014.82,-122.191),(1014.3,-108.622),(1015.035,-107.8),(1163.202,-107.791),(1164.292,-106.683),(1164.3,-93.622),(1162.888,-92.2),(1014.811,-92.19),(1014.518,-77.894),(1088.481,-77.746),(1089.296,-76.612),(1089.3,-62.5),(1099,-57.5),(1221.398,-57.501),(1227.488,-58.21),(1228.604,-59.981),(1228.995,-64.544),(1229,-182.932),(1249,-182.932)])
P(toplevel, L5_0, [(-1650,10),(-1750,100),(-2000,100),(-2000,-100),(-1750,-100),(-1650,-10),(1650,-10),(1750,-100),(2000,-100),(2000,100),(1750,100),(1650,10)])

lib.write_gds('toplevel.gds')
